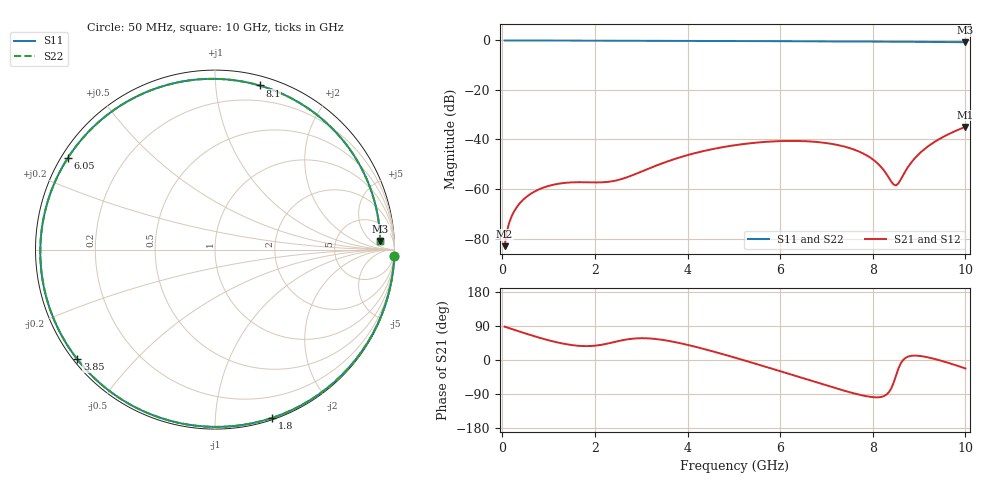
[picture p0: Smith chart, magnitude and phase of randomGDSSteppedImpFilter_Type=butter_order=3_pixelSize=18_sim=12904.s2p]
! freq	dB(S11)	phase(S11)	dB(S12)	phase(S12)
!  dB(S21)	phase(S21)	dB(S22)	phase(S22)
!S-par simulation data
#  GHz  S  DB  R 50
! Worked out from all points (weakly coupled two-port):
!   200 points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, 50 MHz to 10 GHz, reference 50 ohm
!   highest |S21| = -34.91 dB at 10 GHz (marker M1); lowest = -83.1 dB at 50 MHz (marker M2)
!   lowest |S11| = -0.7 dB at 10 GHz (marker M3), VSWR 24.56, Z = 871 + j557 ohm
!   |S11| at or under -10 dB: nowhere
!   |S22| runs from -0.7 to 0.0 dB; largest |S21 - S12| = 0
!   S11 on the Smith chart (normalised r, x): 50 MHz: 0, -55; 1.8 GHz: 0.01, -1.39; 3.85 GHz: 0.01, -0.35; 6.05 GHz: 0.02, +0.29; 8.1 GHz: 0.07, +1.31; 10 GHz: 17, +11
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0.05  -0.00 -2.1  -83.08 88.0  -83.08 88.0  -0.00 -2.1
0.15  -0.01 -6.2  -73.57 83.9  -73.57 83.9  -0.01 -6.2
0.25  -0.01 -10.3  -69.20 79.9  -69.20 79.9  -0.01 -10.3
0.55  -0.03 -22.5  -62.78 68.1  -62.78 68.1  -0.03 -22.5
1.05  -0.05 -42.5  -58.50 50.5  -58.50 50.5  -0.05 -42.5
1.75  -0.08 -69.4  -57.26 36.8  -57.26 36.8  -0.08 -69.4
1.8  -0.09 -71.3  -57.27 36.6  -57.27 36.6  -0.09 -71.3
2.5  -0.11 -96.5  -56.37 49.7  -56.37 49.7  -0.11 -96.5
3.4  -0.15 -126.9  -49.99 54.1  -49.99 54.1  -0.15 -126.9
3.85  -0.17 -141.5  -47.13 44.1  -47.13 44.1  -0.17 -141.5
4.45  -0.20 -160.6  -44.23 25.9  -44.23 25.9  -0.20 -160.6
5.05  -0.23 -179.6  -42.23 5.3  -42.23 5.3  -0.23 -179.6
6.05  -0.30 148.0  -40.62 -31.4  -40.62 -31.4  -0.30 148.0
6.7  -0.35 125.9  -40.86 -55.9  -40.86 -55.9  -0.35 125.9
7.55  -0.42 95.4  -43.76 -86.6  -43.76 -86.6  -0.42 95.4
8.1  -0.47 74.8  -49.58 -98.5  -49.58 -98.5  -0.47 74.8
8.35  -0.49 65.3  -55.51 -84.6  -55.51 -84.6  -0.49 65.3
8.5  -0.51 59.5  -58.54 -41.6  -58.54 -41.6  -0.51 59.5
8.85  -0.54 46.1  -48.86 11.3  -48.86 11.3  -0.54 46.1
9.1  -0.57 36.6  -44.13 9.2  -44.13 9.2  -0.57 36.6
9.5  -0.63 21.4  -39.15 -2.8  -39.15 -2.8  -0.63 21.4
10  -0.71 3.0  -34.91 -22.3  -34.91 -22.3  -0.71 3.0
